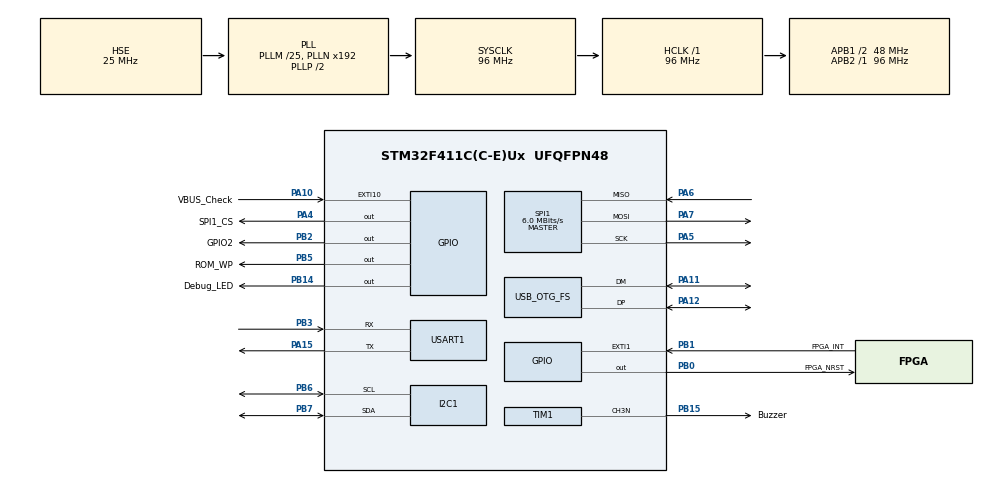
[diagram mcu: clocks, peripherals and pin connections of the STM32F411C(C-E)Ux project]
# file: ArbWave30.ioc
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FREERTOS.Queues01=USB_ReceiveChar,256,char,0,Dynamic,NULL,NULL
FREERTOS.Tasks01=scpi_Task,24,256,scpi_task,Default,NULL,Dynamic,NULL,NULL
FREERTOS.configENABLE_FPU=1
Mcu.Family=STM32F4
Mcu.Name=STM32F411C(C-E)Ux
Mcu.Package=UFQFPN48
NVIC.OTG_FS_IRQn=true\:5\:0\:false\:false\:true\:true\:false\:true\:true
NVIC.PriorityGroup=NVIC_PRIORITYGROUP_4
NVIC.TIM1_TRG_COM_TIM11_IRQn=true\:15\:0\:false\:false\:true\:false\:false\:true\:true
NVIC.TIM1_UP_TIM10_IRQn=true\:5\:0\:false\:false\:true\:false\:false\:true\:true
NVIC.TimeBase=TIM1_TRG_COM_TIM11_IRQn
NVIC.TimeBaseIP=TIM11
PA10.GPIO_Label=VBUS_Check
PA10.GPIO_ModeDefaultEXTI=GPIO_MODE_IT_RISING_FALLING
PA10.Signal=GPXTI10
PA11.Mode=Device_Only
PA11.Signal=USB_OTG_FS_DM
PA12.Mode=Device_Only
PA12.Signal=USB_OTG_FS_DP
PA13.Mode=Serial_Wire
PA13.Signal=SYS_JTMS-SWDIO
PA14.Mode=Serial_Wire
PA14.Signal=SYS_JTCK-SWCLK
PA15.Mode=Asynchronous
PA15.Signal=USART1_TX
PA4.GPIO_Label=SPI1_CS
PA4.GPIO_Speed=GPIO_SPEED_FREQ_VERY_HIGH
PA4.PinState=GPIO_PIN_SET
PA4.Signal=GPIO_Output
PA5.Mode=Full_Duplex_Master
PA5.Signal=SPI1_SCK
PA6.Mode=Full_Duplex_Master
PA6.Signal=SPI1_MISO
PA7.Mode=Full_Duplex_Master
PA7.Signal=SPI1_MOSI
PB0.GPIO_Label=FPGA_NRST
PB0.GPIO_Speed=GPIO_SPEED_FREQ_HIGH
PB0.PinState=GPIO_PIN_SET
PB0.Signal=GPIO_Output
PB1.GPIO_Label=FPGA_INT
PB1.Signal=GPXTI1
PB14.GPIO_Label=Debug_LED
PB14.Signal=GPIO_Output
PB15.GPIO_Label=Buzzer
PB15.Mode=PWM Generation3 CH3N
PB15.Signal=TIM1_CH3N
PB2.GPIO_Label=GPIO2
PB2.GPIO_Speed=GPIO_SPEED_FREQ_VERY_HIGH
PB2.PinState=GPIO_PIN_RESET
PB2.Signal=GPIO_Output
PB3.Mode=Asynchronous
PB3.Signal=USART1_RX
PB5.GPIO_Label=ROM_WP
PB5.GPIO_Speed=GPIO_SPEED_FREQ_LOW
PB5.Signal=GPIO_Output
PB6.Mode=I2C
PB6.Signal=I2C1_SCL
PB7.Mode=I2C
PB7.Signal=I2C1_SDA
PC14-OSC32_IN.Mode=LSE-External-Oscillator
PC14-OSC32_IN.Signal=RCC_OSC32_IN
PC15-OSC32_OUT.Mode=LSE-External-Oscillator
PC15-OSC32_OUT.Signal=RCC_OSC32_OUT
PH0\ -\ OSC_IN.Mode=HSE-External-Oscillator
PH0\ -\ OSC_IN.Signal=RCC_OSC_IN
PH1\ -\ OSC_OUT.Mode=HSE-External-Oscillator
PH1\ -\ OSC_OUT.Signal=RCC_OSC_OUT
ProjectManager.HeapSize=0x200
ProjectManager.StackSize=0x400
ProjectManager.TargetToolchain=MDK-ARM V5.32
RCC.48MHZClocksFreq_Value=48000000
RCC.AHBFreq_Value=96000000
RCC.APB1CLKDivider=RCC_HCLK_DIV2
RCC.APB1Freq_Value=48000000
RCC.APB1TimFreq_Value=96000000
RCC.APB2Freq_Value=96000000
RCC.APB2TimFreq_Value=96000000
RCC.CortexFreq_Value=96000000
RCC.HCLKFreq_Value=96000000
RCC.HSE_VALUE=25000000
RCC.HSI_VALUE=16000000
RCC.PLLM=25
RCC.RCC_RTC_Clock_Source=RCC_RTCCLKSOURCE_LSE
RCC.RCC_RTC_Clock_SourceVirtual=RCC_RTCCLKSOURCE_LSE
RCC.RCC_RTC_Clock_Source_FROM_HSE=RCC_RTCCLKSOURCE_HSE_DIV31
RCC.SYSCLKFreq_VALUE=96000000
RCC.SYSCLKSource=RCC_SYSCLKSOURCE_PLLCLK
RCC.VCOOutputFreq_Value=192000000
SPI1.BaudRatePrescaler=SPI_BAUDRATEPRESCALER_16
SPI1.CalculateBaudRate=6.0 MBits/s
SPI1.Direction=SPI_DIRECTION_2LINES
SPI1.Mode=SPI_MODE_MASTER
SPI1.VirtualType=VM_MASTER
TIM1.Channel-PWM\ Generation3\ CH3N=TIM_CHANNEL_3
USART1.VirtualMode=VM_ASYNC
USB_DEVICE.CLASS_NAME_FS=CDC
USB_DEVICE.VirtualMode=Cdc
USB_DEVICE.VirtualModeFS=Cdc_FS
USB_OTG_FS.VirtualMode=Device_Only
VP_FREERTOS_VS_CMSIS_V2.Mode=CMSIS_V2
VP_RTC_VS_RTC_Activate.Mode=RTC_Enabled
VP_RTC_VS_RTC_Calendar.Mode=RTC_Calendar
VP_SYS_VS_tim11.Mode=TIM11
VP_TIM1_VS_ClockSourceINT.Mode=Internal
VP_USB_DEVICE_VS_USB_DEVICE_CDC_FS.Mode=CDC_FS
board=custom

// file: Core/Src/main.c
/* USER CODE BEGIN Header */
/**
  ******************************************************************************
  * @file           : main.c
  * @brief          : Main program body
  ******************************************************************************
  * @attention
  *
  * Copyright (c) 2026 STMicroelectronics.
  * All rights reserved.
  *
  * This software is licensed under terms that can be found in the LICENSE file
  * in the root directory of this software component.
  * If no LICENSE file comes with this software, it is provided AS-IS.
  *
  ******************************************************************************
  */
/* USER CODE END Header */
#include "main.h"
#include "cmsis_os.h"
#include "i2c.h"
#include "rtc.h"
#include "spi.h"
#include "tim.h"
#include "usart.h"
#include "usb_device.h"
#include "gpio.h"

/* USER CODE BEGIN Includes */
#include "analog_board_driver.h"
/* USER CODE END Includes */

void SystemClock_Config(void);
void MX_FREERTOS_Init(void);

int main(void)
{

  /* MCU Configuration--------------------------------------------------------*/

  /* Reset of all peripherals, Initializes the Flash interface and the Systick. */
  HAL_Init();

  /* Configure the system clock */
  SystemClock_Config();

  /* Initialize all configured peripherals */
  MX_GPIO_Init();
  MX_I2C1_Init();
  MX_SPI1_Init();
  MX_USART1_UART_Init();
  MX_RTC_Init();
  MX_TIM1_Init();

  /* Init scheduler */
  osKernelInitialize();

  /* Call init function for freertos objects (in cmsis_os2.c) */
  MX_FREERTOS_Init();

  /* Start scheduler */
  osKernelStart();

  /* We should never get here as control is now taken by the scheduler */

  /* Infinite loop */
  while (1)
  {

  }
}

void SystemClock_Config(void)
{
  RCC_OscInitTypeDef RCC_OscInitStruct = {0};
  RCC_ClkInitTypeDef RCC_ClkInitStruct = {0};

  /** Configure the main internal regulator output voltage
  */
  __HAL_RCC_PWR_CLK_ENABLE();
  __HAL_PWR_VOLTAGESCALING_CONFIG(PWR_REGULATOR_VOLTAGE_SCALE1);

  /** Initializes the RCC Oscillators according to the specified parameters
  * in the RCC_OscInitTypeDef structure.
  */
  RCC_OscInitStruct.OscillatorType = RCC_OSCILLATORTYPE_HSE|RCC_OSCILLATORTYPE_LSE;
  RCC_OscInitStruct.HSEState = RCC_HSE_ON;
  RCC_OscInitStruct.LSEState = RCC_LSE_ON;
  RCC_OscInitStruct.PLL.PLLState = RCC_PLL_ON;
  RCC_OscInitStruct.PLL.PLLSource = RCC_PLLSOURCE_HSE;
  RCC_OscInitStruct.PLL.PLLM = 25;
  RCC_OscInitStruct.PLL.PLLN = 192;
  RCC_OscInitStruct.PLL.PLLP = RCC_PLLP_DIV2;
  RCC_OscInitStruct.PLL.PLLQ = 4;
  if (HAL_RCC_OscConfig(&RCC_OscInitStruct) != HAL_OK)
  {
    Error_Handler();
  }

  /** Initializes the CPU, AHB and APB buses clocks
  */
  RCC_ClkInitStruct.ClockType = RCC_CLOCKTYPE_HCLK|RCC_CLOCKTYPE_SYSCLK
                              |RCC_CLOCKTYPE_PCLK1|RCC_CLOCKTYPE_PCLK2;
  RCC_ClkInitStruct.SYSCLKSource = RCC_SYSCLKSOURCE_PLLCLK;
  RCC_ClkInitStruct.AHBCLKDivider = RCC_SYSCLK_DIV1;
  RCC_ClkInitStruct.APB1CLKDivider = RCC_HCLK_DIV2;
  RCC_ClkInitStruct.APB2CLKDivider = RCC_HCLK_DIV1;

  if (HAL_RCC_ClockConfig(&RCC_ClkInitStruct, FLASH_LATENCY_3) != HAL_OK)
  {
    Error_Handler();
  }
}

void HAL_TIM_PeriodElapsedCallback(TIM_HandleTypeDef *htim)
{
  if (htim->Instance == TIM11) {
    HAL_IncTick();
  }
}

void Error_Handler(void)
{
  __disable_irq();
  while (1)
  {
  }
}

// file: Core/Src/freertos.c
/* USER CODE BEGIN Header */
/**
  ******************************************************************************
  * File Name          : freertos.c
  * Description        : Code for freertos applications
  ******************************************************************************
  * @attention
  *
  * Copyright (c) 2026 STMicroelectronics.
  * All rights reserved.
  *
  * This software is licensed under terms that can be found in the LICENSE file
  * in the root directory of this software component.
  * If no LICENSE file comes with this software, it is provided AS-IS.
  *
  ******************************************************************************
  */
/* USER CODE END Header */

#include "FreeRTOS.h"
#include "task.h"
#include "main.h"
#include "cmsis_os.h"

/* USER CODE BEGIN Includes */
#include <stdbool.h>
#include "usbd_core.h"
#include "scpi_def.h"
/* USER CODE END Includes */

/* USER CODE BEGIN Variables */
extern USBD_HandleTypeDef hUsbDeviceFS;

scpi_t scpi_context; // SCPI 上下文

/* USER CODE END Variables */
/* Definitions for scpi_Task */
osThreadId_t scpi_TaskHandle;
const osThreadAttr_t scpi_Task_attributes = {
  .name = "scpi_Task",
  .stack_size = 256 * 4,
  .priority = (osPriority_t) osPriorityNormal,
};
/* Definitions for USB_ReceiveChar */
osMessageQueueId_t USB_ReceiveCharHandle;
const osMessageQueueAttr_t USB_ReceiveChar_attributes = {
  .name = "USB_ReceiveChar"
};

void scpi_task(void *argument);

extern void MX_USB_DEVICE_Init(void);
void MX_FREERTOS_Init(void); /* (MISRA C 2004 rule 8.1) */

void MX_FREERTOS_Init(void) {

  /* Create the queue(s) */
  /* creation of USB_ReceiveChar */
  USB_ReceiveCharHandle = osMessageQueueNew (256, sizeof(char), &USB_ReceiveChar_attributes);

  /* Create the thread(s) */
  /* creation of scpi_Task */
  scpi_TaskHandle = osThreadNew(scpi_task, NULL, &scpi_Task_attributes);

}

void scpi_task(void *argument)
{
  /* init code for USB_DEVICE */
  /* USER CODE BEGIN scpi_task */
  // 当在 CubeMX 中 Generate 后，上面会有一条 `MX_USB_DEVICE_Init()` 调用，请手动删掉它
  char ch;                              // 用于存储从 USB 接收到的字符
  uint32_t flags;                       // 用于存储从 osThreadFlagsWait 获取的标志位

  static bool usb_started = false;      // 记录 USB 是否已经启动
  static bool usb_initialized = false;  // 记录 USB 是否已经初始化

  ArbWave30_SCPI_Init(&scpi_context);

  /* Infinite loop */
  for(;;) {
    if (osMessageQueueGet(USB_ReceiveCharHandle, &ch, NULL, 50) == osOK) {
      SCPI_Input(&scpi_context, &ch, 1);
    }

    // 从 EXTI9_5 获取 VBUS 边沿事件（检测 USB 线缆插入/拔出） -> 短延迟进行去抖动
    flags = osThreadFlagsWait(VBUS_EVENT_FLAG, osFlagsWaitAny, 0U);
    if ((flags & VBUS_EVENT_FLAG) != 0U) {
      osDelay(20);  // 去抖动延时

      // 启用/禁用 USB
      if (HAL_GPIO_ReadPin(VBUS_Check_GPIO_Port, VBUS_Check_Pin) == GPIO_PIN_SET) {
        if (!usb_started) {
          if (usb_initialized) {
            USBD_Start(&hUsbDeviceFS);      // 重新连接
          } else {
            MX_USB_DEVICE_Init();           // 第一次连接，初始化 USB
            usb_initialized = true;
          }
          usb_started = true;
        }
      } else {
        if (usb_started) {
          USBD_Stop(&hUsbDeviceFS);         // 断开连接
          usb_started = false;
        }
      }
    }
  }
  /* USER CODE END scpi_task */
}
